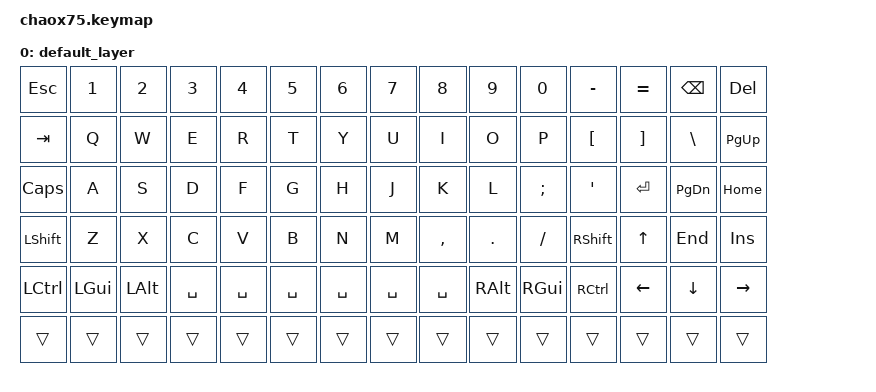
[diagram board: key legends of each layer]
#include <behaviors.dtsi>
#include <dt-bindings/zmk/keys.h>

/ {
    keymap {
        compatible = "zmk,keymap";
        default_layer {
            bindings = <
                &kp ESC  &kp N1 &kp N2 &kp N3 &kp N4 &kp N5 &kp N6 &kp N7 &kp N8 &kp N9 &kp N0 &kp MINUS &kp EQUAL &kp BSPC &kp DEL
                &kp TAB  &kp Q  &kp W  &kp E  &kp R  &kp T  &kp Y  &kp U  &kp I  &kp O  &kp P  &kp LBKT &kp RBKT &kp BSLH &kp PG_UP
                &kp CAPS &kp A  &kp S  &kp D  &kp F  &kp G  &kp H  &kp J  &kp K  &kp L  &kp SEMI &kp SQT  &kp ENTER &kp PG_DN &kp HOME
                &kp LSHFT &kp Z &kp X &kp C &kp V &kp B &kp N &kp M &kp COMMA &kp DOT &kp FSLH &kp RSHFT &kp UP &kp END &kp INS
                &kp LCTRL &kp LGUI &kp LALT &kp SPACE &kp SPACE &kp SPACE &kp SPACE &kp SPACE &kp SPACE &kp RALT &kp RGUI &kp RCTRL &kp LEFT &kp DOWN &kp RIGHT
                &trans &trans &trans &trans &trans &trans &trans &trans &trans &trans &trans &trans &trans &trans &trans
            >;
        };
    };
};
